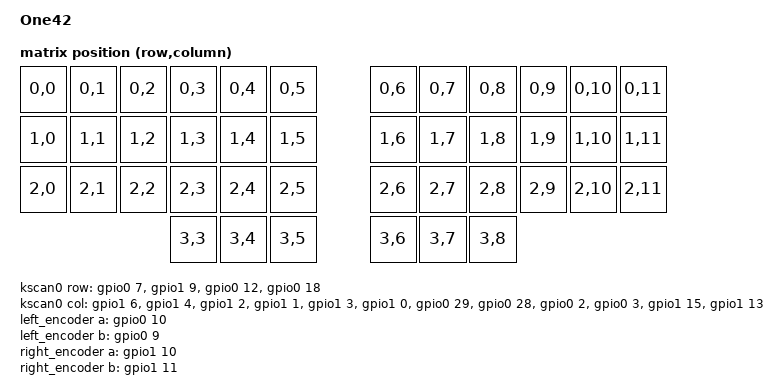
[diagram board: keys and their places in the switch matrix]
/*
 * Copyright (c) 2020 Pete Johanson, TJ Campie
 *
 * SPDX-License-Identifier: MIT
 */

/dts-v1/;
#include <nordic/nrf52840_qiaa.dtsi>
#include <dt-bindings/zmk/matrix_transform.h>

/ {
	model = "One42";
	compatible = "one42";

  chosen {
          zephyr,code-partition = &code_partition;
      		zephyr,sram = &sram0;
      		zephyr,flash = &flash0;

          zmk,kscan = &kscan0;
          zmk,matrix_transform = &default_transform;

      default_transform: keymap_transform_0 {
          compatible = "zmk,matrix-transform";
          columns = <12>;
          rows = <4>;
          map = <

      RC(0,0) RC(0,1) RC(0,2) RC(0,3) RC(0,4) RC(0,5) RC(0,6) RC(0,7) RC(0,8) RC(0,9) RC(0,10) RC(0,11)
      RC(1,0) RC(1,1) RC(1,2) RC(1,3) RC(1,4) RC(1,5) RC(1,6) RC(1,7) RC(1,8) RC(1,9) RC(1,10) RC(1,11)
      RC(2,0) RC(2,1) RC(2,2) RC(2,3) RC(2,4) RC(2,5) RC(2,6) RC(2,7) RC(2,8) RC(2,9) RC(2,10) RC(2,11)
                              RC(3,3) RC(3,4) RC(3,5) RC(3,6) RC(3,7) RC(3,8) 
          >;
      };

    kscan0: kscan_0 {
        compatible = "zmk,kscan-gpio-matrix";
        label = "KSCAN";
        diode-direction = "col2row";

        col-gpios
            = <&gpio1 6 GPIO_ACTIVE_HIGH>
            , <&gpio1 4 GPIO_ACTIVE_HIGH>
            , <&gpio1 2 GPIO_ACTIVE_HIGH>
            , <&gpio1 1 GPIO_ACTIVE_HIGH>
            , <&gpio1 3 GPIO_ACTIVE_HIGH>
            , <&gpio1 0 GPIO_ACTIVE_HIGH>
            , <&gpio0 29 GPIO_ACTIVE_HIGH>
            , <&gpio0 28 GPIO_ACTIVE_HIGH>
            , <&gpio0 2 GPIO_ACTIVE_HIGH>
            , <&gpio0 3 GPIO_ACTIVE_HIGH>
            , <&gpio1 15 GPIO_ACTIVE_HIGH>
            , <&gpio1 13 GPIO_ACTIVE_HIGH>
            ;

        row-gpios
            = <&gpio0 7 (GPIO_ACTIVE_HIGH | GPIO_PULL_DOWN)>
            , <&gpio1 9 (GPIO_ACTIVE_HIGH | GPIO_PULL_DOWN)>
            , <&gpio0 12 (GPIO_ACTIVE_HIGH | GPIO_PULL_DOWN)>
            , <&gpio0 18 (GPIO_ACTIVE_HIGH | GPIO_PULL_DOWN)>
            ;
    };

    left_encoder: encoder_left {
        compatible = "alps,ec11";
        label = "LEFT_ENCODER";
        a-gpios = <&gpio0 10 (GPIO_ACTIVE_HIGH | GPIO_PULL_DOWN)>;
        b-gpios = <&gpio0 9 (GPIO_ACTIVE_HIGH | GPIO_PULL_DOWN)>;
        resolution = <2>;
    };

    right_encoder: encoder_right {
        compatible = "alps,ec11";
        label = "RIGHT_ENCODER";
        a-gpios = <&gpio1 10 (GPIO_ACTIVE_HIGH | GPIO_PULL_DOWN)>;
        b-gpios = <&gpio1 11 (GPIO_ACTIVE_HIGH | GPIO_PULL_DOWN)>;
        resolution = <2>;
    };

    sensors {
        compatible = "zmk,keymap-sensors";
        sensors = <&left_encoder &right_encoder>;
    };
};

	vbatt {
		compatible = "zmk,battery-voltage-divider";
		label = "BATTERY";
		io-channels = <&adc 2>;
    output-ohms = <2000000>;
		full-ohms = <(2000000 + 806000)>;
	};
};

&adc {
	status = "okay";
};

&gpiote {
	status = "okay";
};

&gpio0 {
	status = "okay";
};

&gpio1 {
	status = "okay";
};

&i2c0 {
	status = "okay";
	compatible = "nordic,nrf-twi";
	sda-pin = <21>;
	scl-pin = <19>;

	oled: ssd1306@3c {
		compatible = "solomon,ssd1306fb";
		reg = <0x3c>;
		label = "DISPLAY";
		width = <128>;
		height = <32>;
		segment-offset = <0>;
		page-offset = <0>;
		display-offset = <0>;
		multiplex-ratio = <31>;
		segment-remap;
		com-invdir;
		com-sequential;
		prechargep = <0x22>;
	};

};

&uart0 {
 	compatible = "nordic,nrf-uarte";
 	status = "okay";
 	current-speed = <115200>;
 	tx-pin = <16>;
 	rx-pin = <14>;
 	rts-pin = <13>;
	cts-pin = <15>;
 };

&usbd {
	status = "okay";
};

&flash0 {
	/*
	 * For more information, see:
	 * http://docs.zephyrproject.org/latest/devices/dts/flash_partitions.html
	 */
	partitions {
		compatible = "fixed-partitions";
		#address-cells = <1>;
		#size-cells = <1>;

		sd_partition: partition@0 {
			label = "softdevice";
			reg = <0x00000000 0x00026000>;
		};
		code_partition: partition@26000 {
			label = "code_partition";
			reg = <0x00026000 0x000c6000>;
		};

		/*
		 * The flash starting at 0x000ec000 and ending at
		 * 0x000f3fff is reserved for use by the application.
		 */

		/*
		 * Storage partition will be used by FCB/LittleFS/NVS
		 * if enabled.
		 */
		storage_partition: partition@ec000 {
			label = "storage";
			reg = <0x000ec000 0x00008000>;
		};

		boot_partition: partition@f4000 {
			label = "adafruit_boot";
			reg = <0x000f4000 0x0000c000>;
		};
	};
};
